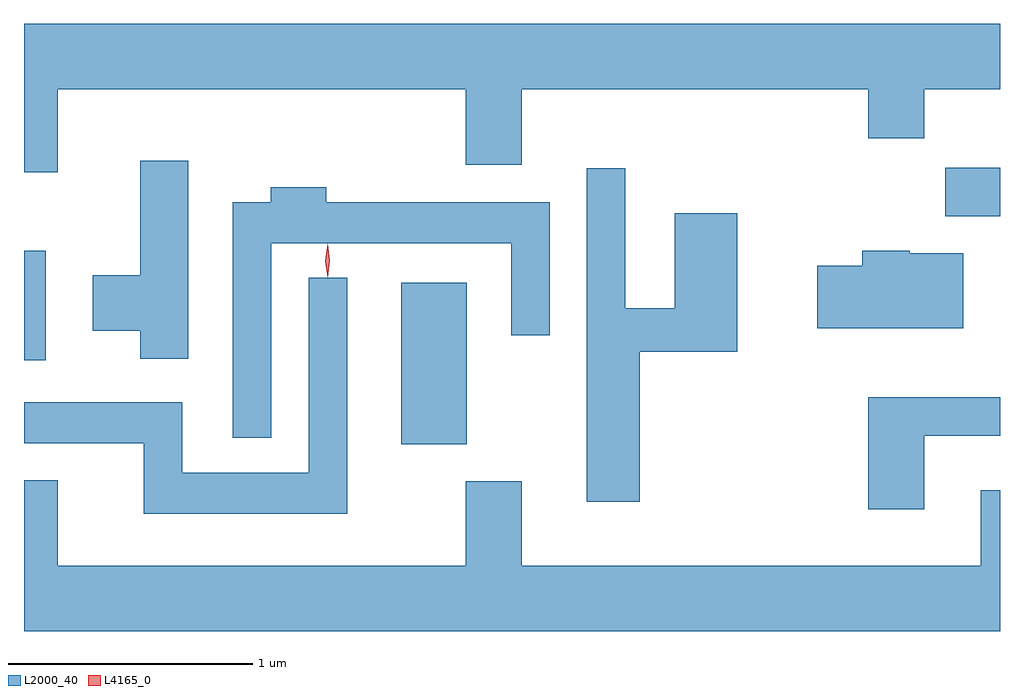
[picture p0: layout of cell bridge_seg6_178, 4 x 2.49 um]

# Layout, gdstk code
import gdstk
lib = gdstk.Library(unit=1e-6, precision=1e-09)
def R(c, l, rs):  # rectangles x0, y0, x1, y1
    for r in rs: c.add(gdstk.rectangle(r[:2], r[2:], *l))
def P(c, l, *ps):  # polygons
    for p in ps: c.add(gdstk.Polygon(p, *l))
L2000_40 = (2000, 40)
L4165_0 = (4165, 0)

bridge_seg6_178 = lib.new_cell('bridge_seg6_178')
R(bridge_seg6_178, L2000_40, [(1082.536,1595.201,1082.804,1595.864), (1080.99,1595.546,1081.079,1595.994), (1084.766,1596.136,1084.99,1596.334)])
P(bridge_seg6_178, L2000_40, [(1081.129,1596.656),(1082.801,1596.656),(1082.801,1596.346),(1083.029,1596.346),(1083.029,1596.656),(1084.451,1596.656),(1084.451,1596.456),(1084.679,1596.456),(1084.679,1596.656),(1084.99,1596.656),(1084.99,1596.924),(1080.99,1596.924),(1080.99,1596.316),(1081.129,1596.316)],
  [(1081.664,1596.364),(1081.466,1596.364),(1081.466,1595.894),(1081.271,1595.894),(1081.271,1595.666),(1081.466,1595.666),(1081.466,1595.551),(1081.664,1595.551)],
  [(1083.514,1595.581),(1083.914,1595.581),(1083.914,1596.149),(1083.656,1596.149),(1083.656,1595.759),(1083.454,1595.759),(1083.454,1596.333),(1083.296,1596.333),(1083.296,1594.966),(1083.514,1594.966)],
  [(1082.004,1596.026),(1082.986,1596.026),(1082.986,1595.648),(1083.144,1595.648),(1083.144,1596.194),(1082.229,1596.194),(1082.229,1596.254),(1082.001,1596.254),(1082.001,1596.194),(1081.846,1596.194),(1081.846,1595.228),(1082.004,1595.228)],
  [(1084.839,1595.984),(1084.62,1595.984),(1084.62,1595.994),(1084.426,1595.994),(1084.426,1595.934),(1084.241,1595.934),(1084.241,1595.676),(1084.839,1595.676)],
  [(1082.314,1595.883),(1082.156,1595.883),(1082.156,1595.084),(1081.639,1595.084),(1081.639,1595.374),(1080.99,1595.374),(1080.99,1595.206),(1081.481,1595.206),(1081.481,1594.916),(1082.314,1594.916)],
  [(1084.679,1595.236),(1084.99,1595.236),(1084.99,1595.394),(1084.451,1595.394),(1084.451,1594.936),(1084.679,1594.936)],
  [(1084.99,1595.014),(1084.911,1595.014),(1084.911,1594.704),(1083.029,1594.704),(1083.029,1595.049),(1082.801,1595.049),(1082.801,1594.704),(1081.129,1594.704),(1081.129,1595.054),(1080.99,1595.054),(1080.99,1594.436),(1084.99,1594.436)])
P(bridge_seg6_178, L4165_0, [(1082.234,1595.884),(1082.234,1595.884),(1082.224,1595.954),(1082.234,1596.023),(1082.234,1596.023),(1082.235,1596.023),(1082.244,1595.954),(1082.235,1595.884)],
  [(1082.234,1595.887),(1082.224,1595.954),(1082.234,1596.02),(1082.234,1596.02),(1082.235,1596.02),(1082.244,1595.954),(1082.235,1595.887),(1082.235,1595.887)])

lib.write_gds('bridge_seg6_178.gds')
